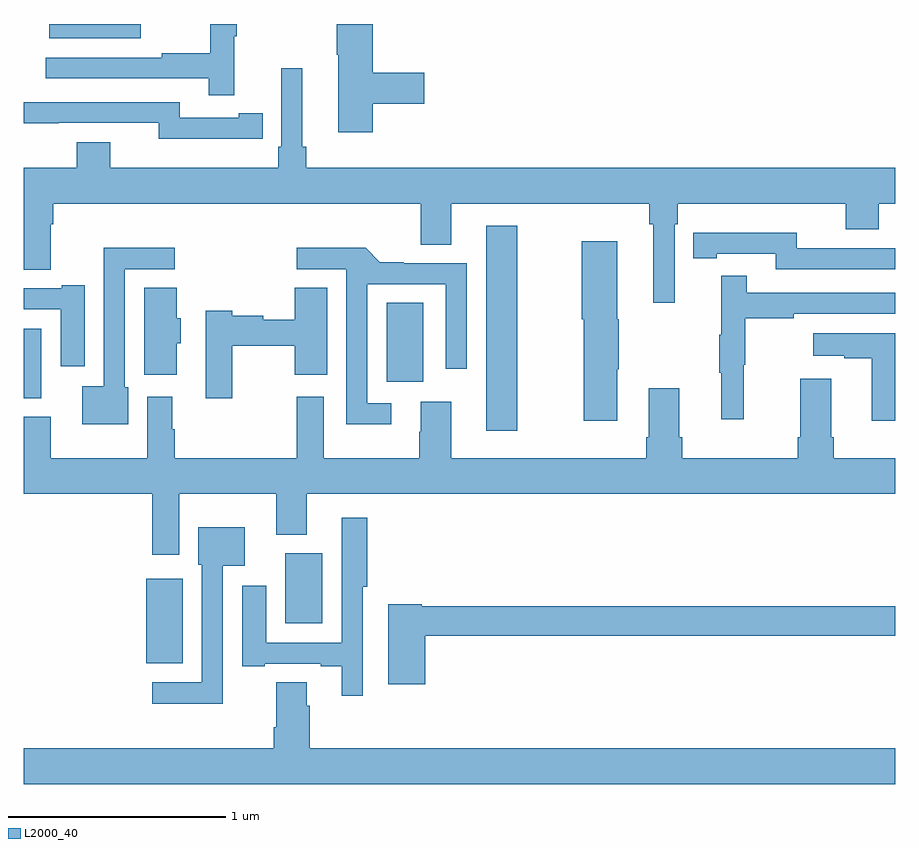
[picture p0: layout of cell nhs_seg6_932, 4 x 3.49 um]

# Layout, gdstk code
import gdstk
lib = gdstk.Library(unit=1e-6, precision=1e-09)
def R(c, l, rs):  # rectangles x0, y0, x1, y1
    for r in rs: c.add(gdstk.rectangle(r[:2], r[2:], *l))
def P(c, l, *ps):  # polygons
    for p in ps: c.add(gdstk.Polygon(p, *l))
L2000_40 = (2000, 40)

nhs_seg6_932 = lib.new_cell('nhs_seg6_932')
R(nhs_seg6_932, L2000_40, [(169.562,938.567,169.729,938.953), (170.201,938.75,170.371,939.07), (171.122,939.633,171.264,940.573), (169,939.782,169.081,940.102), (170.666,939.858,170.833,940.22), (169.118,941.435,169.537,941.5)])
P(nhs_seg6_932, L2000_40, [(169.967,941.443),(169.978,941.443),(169.978,941.5),(169.857,941.5),(169.857,941.366),(169.633,941.366),(169.633,941.346),(169.101,941.346),(169.101,941.25),(169.849,941.25),(169.849,941.172),(169.967,941.172)],
  [(170.603,941.134),(170.839,941.134),(170.839,941.276),(170.603,941.276),(170.603,941.5),(170.437,941.5),(170.437,941.359),(170.444,941.359),(170.444,941.004),(170.603,941.004)],
  [(171.987,940.58),(172.001,940.58),(172.001,940.676),(172.772,940.676),(172.772,940.559),(172.925,940.559),(172.925,940.676),(173,940.676),(173,940.84),(170.297,940.84),(170.297,940.936),(170.278,940.936),(170.278,941.296),(170.181,941.296),(170.181,940.936),(170.168,940.936),(170.168,940.84),(169.396,940.84),(169.396,940.957),(169.244,940.957),(169.244,940.84),(169,940.84),(169,940.372),(169.123,940.372),(169.123,940.58),(169.136,940.58),(169.136,940.676),(170.822,940.676),(170.822,940.486),(170.962,940.486),(170.962,940.676),(171.871,940.676),(171.871,940.58),(171.89,940.58),(171.89,940.221),(171.987,940.221)],
  [(169.988,940.974),(170.096,940.974),(170.096,941.09),(169.988,941.09),(169.988,941.07),(169.716,941.07),(169.716,941.142),(169,941.142),(169,941.045),(169.16,941.045),(169.16,941.046),(169.62,941.046),(169.62,940.973),(169.988,940.973)],
  [(173,940.47),(172.548,940.47),(172.548,940.543),(172.18,940.543),(172.18,940.542),(172.072,940.542),(172.072,940.426),(172.18,940.426),(172.18,940.446),(172.452,940.446),(172.452,940.374),(173,940.374)],
  [(171.724,939.916),(171.732,939.916),(171.732,940.146),(171.724,940.146),(171.724,940.504),(171.56,940.504),(171.56,940.146),(171.571,940.146),(171.571,939.678),(171.724,939.678)],
  [(169.48,939.834),(169.464,939.834),(169.464,940.374),(169.693,940.374),(169.693,940.472),(169.368,940.472),(169.368,939.838),(169.268,939.838),(169.268,939.662),(169.48,939.662)],
  [(170.686,939.759),(170.577,939.759),(170.577,940.305),(170.937,940.305),(170.937,939.918),(171.033,939.918),(171.033,940.401),(170.743,940.401),(170.743,940.406),(170.635,940.406),(170.57,940.472),(170.253,940.472),(170.253,940.374),(170.481,940.374),(170.481,939.662),(170.686,939.662)],
  [(172.304,939.936),(172.312,939.936),(172.312,940.15),(172.535,940.15),(172.535,940.17),(173,940.17),(173,940.266),(172.319,940.266),(172.319,940.345),(172.202,940.345),(172.202,940.073),(172.191,940.073),(172.191,939.899),(172.202,939.899),(172.202,939.687),(172.304,939.687)],
  [(169.279,940.3),(169.175,940.3),(169.175,940.287),(169,940.287),(169,940.191),(169.169,940.191),(169.169,939.93),(169.279,939.93)],
  [(169.702,940.035),(169.72,940.035),(169.72,940.149),(169.702,940.149),(169.702,940.289),(169.553,940.289),(169.553,939.891),(169.702,939.891)],
  [(169.957,940.024),(170.243,940.024),(170.243,939.891),(170.392,939.891),(170.392,940.289),(170.243,940.289),(170.243,940.143),(170.1,940.143),(170.1,940.16),(169.957,940.16),(169.957,940.184),(169.835,940.184),(169.835,939.783),(169.957,939.783)],
  [(173,940.081),(172.623,940.081),(172.623,939.977),(172.766,939.977),(172.766,939.967),(172.892,939.967),(172.892,939.678),(173,939.678)],
  [(169.568,939.79),(169.568,939.508),(169.123,939.508),(169.123,939.697),(169,939.697),(169,939.344),(169.589,939.344),(169.589,939.063),(169.714,939.063),(169.714,939.344),(170.159,939.344),(170.159,939.155),(170.299,939.155),(170.299,939.344),(173,939.344),(173,939.508),(172.718,939.508),(172.718,939.604),(172.705,939.604),(172.705,939.871),(172.565,939.871),(172.565,939.604),(172.553,939.604),(172.553,939.508),(172.022,939.508),(172.022,939.604),(172.009,939.604),(172.009,939.829),(171.869,939.829),(171.869,939.604),(171.857,939.604),(171.857,939.508),(170.962,939.508),(170.962,939.766),(170.822,939.766),(170.822,939.629),(170.815,939.629),(170.815,939.508),(170.377,939.508),(170.377,939.79),(170.252,939.79),(170.252,939.508),(169.694,939.508),(169.694,939.641),(169.681,939.641),(169.681,939.79)],
  [(170.556,938.917),(170.576,938.917),(170.576,939.235),(170.46,939.235),(170.46,938.661),(170.113,938.661),(170.113,938.923),(170.003,938.923),(170.003,938.553),(170.107,938.553),(170.107,938.565),(170.363,938.565),(170.363,938.553),(170.459,938.553),(170.459,938.418),(170.556,938.418)],
  [(169.914,939.014),(170.014,939.014),(170.014,939.19),(169.802,939.19),(169.802,939.018),(169.818,939.018),(169.818,938.478),(169.59,938.478),(169.59,938.381),(169.914,938.381)],
  [(170.843,938.692),(173,938.692),(173,938.828),(170.826,938.828),(170.826,938.836),(170.672,938.836),(170.672,938.469),(170.843,938.469)],
  [(173,938.176),(170.312,938.176),(170.312,938.372),(170.299,938.372),(170.299,938.48),(170.159,938.48),(170.159,938.272),(170.147,938.272),(170.147,938.176),(169,938.176),(169,938.012),(173,938.012)])

lib.write_gds('nhs_seg6_932.gds')
